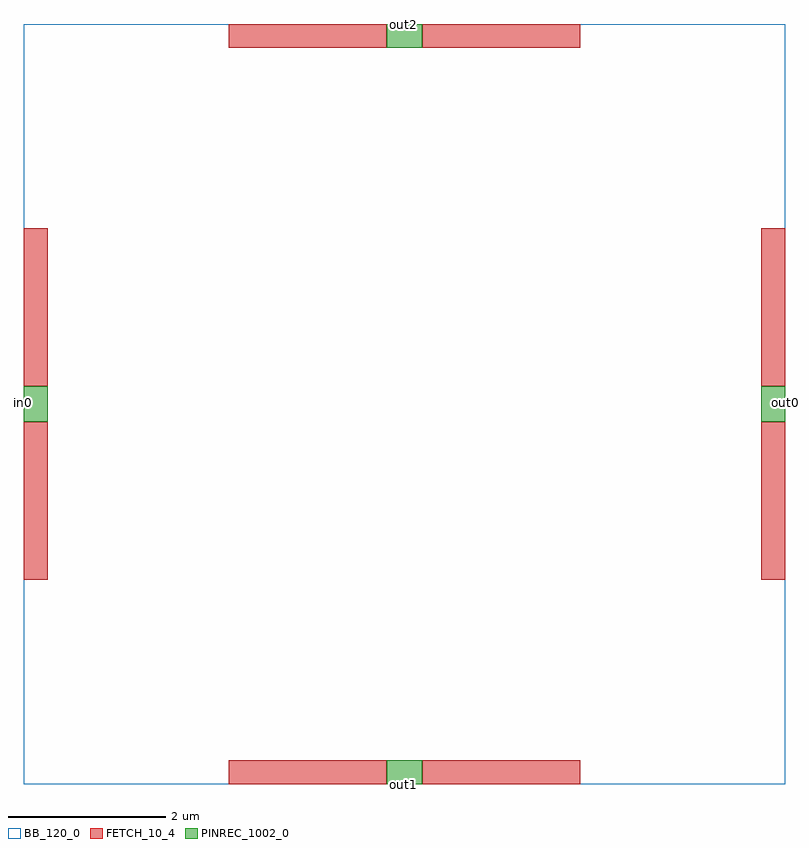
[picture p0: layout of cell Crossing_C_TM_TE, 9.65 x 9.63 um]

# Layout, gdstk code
import gdstk
lib = gdstk.Library(unit=1e-6, precision=1e-09)
def R(c, l, rs):  # rectangles x0, y0, x1, y1
    for r in rs: c.add(gdstk.rectangle(r[:2], r[2:], *l))
FETCH_10_4 = (10, 4)
BB_120_0 = (120, 0)
PINREC_1002_0 = (1002, 0)

crossing_c_tm_te = lib.new_cell('Crossing_C_TM_TE')
R(crossing_c_tm_te, FETCH_10_4, [(2.598,0,4.598,0.3), (5.048,0,7.048,0.3), (0,2.59,0.3,4.59), (9.346,2.59,9.646,4.59), (0,5.04,0.3,7.04), (9.346,5.04,9.646,7.04), (2.598,9.33,4.598,9.63), (5.048,9.33,7.048,9.63)])
R(crossing_c_tm_te, BB_120_0, [(0,0,9.646,9.63)])
R(crossing_c_tm_te, PINREC_1002_0, [(4.598,0,5.048,0.3), (0,4.59,0.3,5.04), (9.346,4.59,9.646,5.04), (4.598,9.33,5.048,9.63)])
crossing_c_tm_te.add(gdstk.Label('out1', (4.813,0), layer=1000, texttype=0))
crossing_c_tm_te.add(gdstk.Label('out2', (4.816,9.63), layer=1000, texttype=0))
crossing_c_tm_te.add(gdstk.Label('out0', (9.646,4.828), layer=1000, texttype=0))
crossing_c_tm_te.add(gdstk.Label('in0', (0,4.832), layer=1000, texttype=0))

lib.write_gds('Crossing_C_TM_TE.gds')
